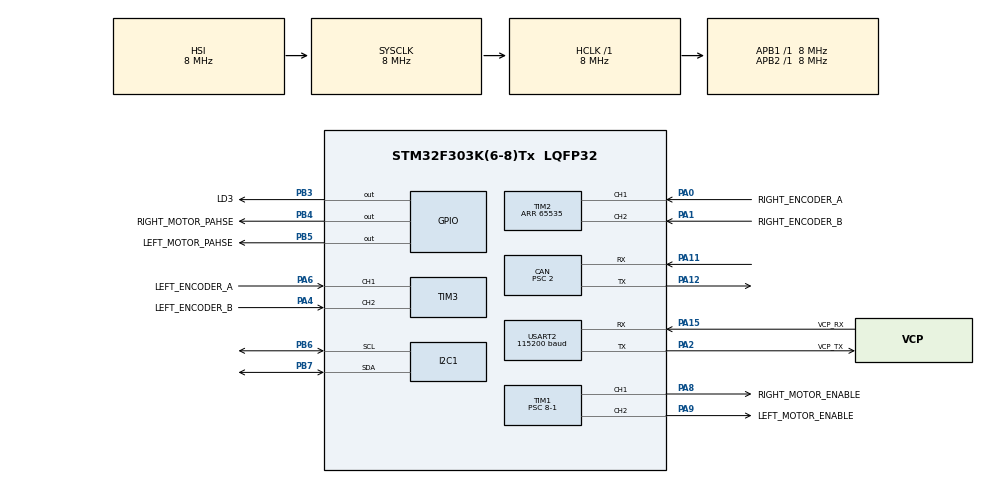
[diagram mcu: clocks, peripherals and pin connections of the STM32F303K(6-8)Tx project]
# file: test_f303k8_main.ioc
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Mcu.Family=STM32F3
RCC.CortexFreq_Value=8000000
PF0\ /\ OSC_IN.Mode=HSE-External-Clock-Source
PA14.GPIO_Label=SWCLK
PA0.GPIO_Label=RIGHT_ENCODER_A
TIM3.EncoderMode=TIM_ENCODERMODE_TI12
PA11.Mode=CAN_Activate
PA6.GPIO_Label=LEFT_ENCODER_A
TIM2.EncoderMode=TIM_ENCODERMODE_TI12
ProjectManager.StackSize=0x400
PA15.GPIO_Label=VCP_RX
PA12.Signal=CAN_TX
CAN.Prescaler=2
TIM1.Prescaler=8-1
TIM15.Prescaler=8-1
PB6.Signal=I2C1_SCL
PB6.Mode=I2C
RCC.AHBFreq_Value=8000000
RCC.HSE_VALUE=8000000
USART2.VirtualMode-Asynchronous=VM_ASYNC
PA15.Mode=Asynchronous
TIM15.Period=1000-1
TIM1.Channel-PWM\ Generation1\ CH1=TIM_CHANNEL_1
PA14.Mode=Serial_Wire
PF0\ /\ OSC_IN.GPIO_Label=MCO
PB7.Signal=I2C1_SDA
PA8.Signal=S_TIM1_CH1
SH.S_TIM3_CH1.0=TIM3_CH1,Encoder_Interface
CAN.CalculateTimeQuantum=250.0
PA0.Signal=S_TIM2_CH1_ETR
Mcu.Package=LQFP32
PA6.Signal=S_TIM3_CH1
PA2.GPIO_Label=VCP_TX
PA15.Signal=USART2_RX
PB5.GPIO_Label=LEFT_MOTOR_PAHSE
TIM1.Period=1000-1
PA4.GPIO_Label=LEFT_ENCODER_B
PB4.Signal=GPIO_Output
PB3.GPIO_Label=LD3
CAN.CalculateBaudRate=400000
PA9.GPIO_Label=LEFT_MOTOR_ENABLE
NVIC.USART2_IRQn=true\:0\:0\:false\:false\:true\:true\:true
USART2.BaudRate=115200
CAN.CalculateTimeBit=2500.00
PA13.Signal=SYS_JTMS-SWDIO
SH.S_TIM2_CH2.0=TIM2_CH2,Encoder_Interface
CAN.BS2=CAN_BS2_2TQ
PA8.GPIO_Label=RIGHT_MOTOR_ENABLE
CAN.BS1=CAN_BS1_7TQ
SH.S_TIM1_CH1.0=TIM1_CH1,PWM Generation1 CH1
ProjectManager.TargetToolchain=STM32CubeIDE
PA9.Signal=S_TIM1_CH2
TIM1.Channel-PWM\ Generation2\ CH2=TIM_CHANNEL_2
PA1.Signal=S_TIM2_CH2
SH.S_TIM3_CH2.0=TIM3_CH2,Encoder_Interface
NVIC.TIM1_BRK_TIM15_IRQn=true\:0\:0\:false\:false\:true\:true\:true
board=NUCLEO-F303K8
RCC.APB2Freq_Value=8000000
PF0\ /\ OSC_IN.Signal=RCC_OSC_IN
PB4.GPIO_Label=RIGHT_MOTOR_PAHSE
SH.S_TIM1_CH2.0=TIM1_CH2,PWM Generation2 CH2
PA1.GPIO_Label=RIGHT_ENCODER_B
TIM2.Period=65535
PA13.Mode=Serial_Wire
Mcu.Name=STM32F303K(6-8)Tx
PA13.GPIO_Label=SWDIO
PA2.Signal=USART2_TX
PB3.Signal=GPIO_Output
PA4.Signal=S_TIM3_CH2
RCC.SYSCLKFreq_VALUE=8000000
PB5.Signal=GPIO_Output
PA12.Mode=CAN_Activate
PB7.Mode=I2C
PA11.Signal=CAN_RX
SH.S_TIM2_CH1_ETR.0=TIM2_CH1,Encoder_Interface
VP_TIM15_VS_ClockSourceINT.Mode=Internal
PA14.Signal=SYS_JTCK-SWCLK
ProjectManager.HeapSize=0x200
RCC.HSI_VALUE=8000000
NVIC.PriorityGroup=NVIC_PRIORITYGROUP_4
PA2.Mode=Asynchronous
RCC.APB1Freq_Value=8000000

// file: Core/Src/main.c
/* USER CODE BEGIN Header */
/**
  ******************************************************************************
  * @file           : main.c
  * @brief          : Main program body
  ******************************************************************************
  * @attention
  *
  * <h2><center>&copy; Copyright (c) 2024 STMicroelectronics.
  * All rights reserved.</center></h2>
  *
  * This software component is licensed by ST under BSD 3-Clause license,
  * the "License"; You may not use this file except in compliance with the
  * License. You may obtain a copy of the License at:
  *                        opensource.org/licenses/BSD-3-Clause
  *
  ******************************************************************************
  */
/* USER CODE END Header */
#include "main.h"

/* USER CODE BEGIN Includes */
#include <stdio.h>
#include <stdlib.h>
#include <string.h>
/* USER CODE END Includes */

CAN_HandleTypeDef hcan;

I2C_HandleTypeDef hi2c1;

TIM_HandleTypeDef htim1;
TIM_HandleTypeDef htim2;
TIM_HandleTypeDef htim3;
TIM_HandleTypeDef htim15;

UART_HandleTypeDef huart2;

/* USER CODE BEGIN PV */
uint16_t motor_count = 0;
uint16_t encoder_count = 0;
uint8_t receive_buffer[8];
float cmd_vel[6]; // right_front, left_front, right_back, left_back, yaw, pitch
uint8_t can_count = 0;

/* USER CODE END PV */

void SystemClock_Config(void);
static void MX_GPIO_Init(void);
static void MX_USART2_UART_Init(void);
static void MX_TIM15_Init(void);
static void MX_CAN_Init(void);
static void MX_TIM1_Init(void);
static void MX_TIM2_Init(void);
static void MX_TIM3_Init(void);
static void MX_I2C1_Init(void);

/* USER CODE BEGIN 0 */
int16_t read_tim2_encoder_value()
{
  uint16_t enc_buff = TIM2->CNT;
  int16_t enc_count = (int16_t)enc_buff - 32767;
  TIM2->CNT = 32767;
  return enc_count;
}

int16_t read_tim3_encoder_value()
{
  uint16_t enc_buff = TIM3->CNT;
  int16_t enc_count = (int16_t)enc_buff - 32767;
  TIM3->CNT = 32767;
  return enc_count;
}

void HAL_TIM_PeriodElapsedCallback(TIM_HandleTypeDef *htim)
{
  if (htim == &htim15)
  {
    // ---encoder
    encoder_count++;
    if (encoder_count > 200) // 5Hz
    {
      encoder_count = 0;
      int16_t encoder_value;
      encoder_value = read_tim2_encoder_value();
      // printf("enc_buff: %d\r\n", encoder_value);
      printf("right_front_vel(deg/s): %f\r\n", (float)encoder_value * 1.20321); // 1:34
      encoder_value = read_tim3_encoder_value();
      // printf("enc_buff: %d\r\n", encoder_value);
      printf("left_front_vel(deg/s): %f\r\n", (float)encoder_value * 1.20321); // 1:34
    }

    // ---motor
    motor_count++;
    if (motor_count > 50) // 20Hz
    {
      motor_count = 0;
      // right_front
      uint16_t right_output;
      if (cmd_vel[0] > 0)
      {
        right_output = (uint16_t)(30.0 * cmd_vel[0]);
        HAL_GPIO_WritePin(RIGHT_MOTOR_PAHSE_GPIO_Port, RIGHT_MOTOR_PAHSE_Pin, GPIO_PIN_SET);
      }
      else
      {
        right_output = (uint16_t)(-30.0 * cmd_vel[0]);
        HAL_GPIO_WritePin(RIGHT_MOTOR_PAHSE_GPIO_Port, RIGHT_MOTOR_PAHSE_Pin, GPIO_PIN_RESET);
      }
      __HAL_TIM_SET_COMPARE(&htim1, TIM_CHANNEL_1, right_output);
      HAL_TIM_PWM_Start(&htim1, TIM_CHANNEL_1);
      printf("right_output: %d\r\n", right_output);

      // left_front
      uint16_t left_output;
      if (cmd_vel[1] > 0)
      {
        left_output = (uint16_t)(30.0 * cmd_vel[1]);
        HAL_GPIO_WritePin(LEFT_MOTOR_PAHSE_GPIO_Port, LEFT_MOTOR_PAHSE_Pin, GPIO_PIN_SET);
      }
      else
      {
        left_output = (uint16_t)(-30.0 * cmd_vel[1]);
        HAL_GPIO_WritePin(LEFT_MOTOR_PAHSE_GPIO_Port, LEFT_MOTOR_PAHSE_Pin, GPIO_PIN_RESET);
      }
      __HAL_TIM_SET_COMPARE(&htim1, TIM_CHANNEL_2, left_output);
      HAL_TIM_PWM_Start(&htim1, TIM_CHANNEL_2);
      printf("left_output: %d\r\n", left_output);
    }

    // ---can transmit
    can_count++;
    if (can_count > 25) // 40Hz
    {
      CAN_TxHeaderTypeDef TxHeader;
      uint32_t TxMailbox;
      uint8_t TxData[8];
      union {
          float f;
          int32_t ui;
      } data;
      // right_back & left_back
      if (0 < HAL_CAN_GetTxMailboxesFreeLevel(&hcan))
      {
        TxHeader.StdId = 0x711;
        TxHeader.RTR = CAN_RTR_DATA;
        TxHeader.IDE = CAN_ID_STD;
        TxHeader.DLC = 8;
        TxHeader.TransmitGlobalTime = DISABLE;
        data.f = cmd_vel[2];
        TxData[0] = (uint8_t) ((data.ui & 0xFF000000) >> 24);
        TxData[1] = (uint8_t) ((data.ui & 0x00FF0000) >> 16);
        TxData[2] = (uint8_t) ((data.ui & 0x0000FF00) >>  8);
        TxData[3] = (uint8_t) ((data.ui & 0x000000FF) >>  0);
        data.f = cmd_vel[3];
        TxData[4] = (uint8_t) ((data.ui & 0xFF000000) >> 24);
        TxData[5] = (uint8_t) ((data.ui & 0x00FF0000) >> 16);
        TxData[6] = (uint8_t) ((data.ui & 0x0000FF00) >>  8);
        TxData[7] = (uint8_t) ((data.ui & 0x000000FF) >>  0);
        if (HAL_CAN_AddTxMessage(&hcan, &TxHeader, TxData, &TxMailbox) != HAL_OK)
        {
          Error_Handler();
        }
      }
      // yaw & pitch
      if (0 < HAL_CAN_GetTxMailboxesFreeLevel(&hcan))
      {
        TxHeader.StdId = 0x712;
        TxHeader.RTR = CAN_RTR_DATA;
        TxHeader.IDE = CAN_ID_STD;
        TxHeader.DLC = 8;
        TxHeader.TransmitGlobalTime = DISABLE;
        data.f = cmd_vel[4];
        TxData[0] = (uint8_t) ((data.ui & 0xFF000000) >> 24);
        TxData[1] = (uint8_t) ((data.ui & 0x00FF0000) >> 16);
        TxData[2] = (uint8_t) ((data.ui & 0x0000FF00) >>  8);
        TxData[3] = (uint8_t) ((data.ui & 0x000000FF) >>  0);
        data.f = cmd_vel[5];
        TxData[4] = (uint8_t) ((data.ui & 0xFF000000) >> 24);
        TxData[5] = (uint8_t) ((data.ui & 0x00FF0000) >> 16);
        TxData[6] = (uint8_t) ((data.ui & 0x0000FF00) >>  8);
        TxData[7] = (uint8_t) ((data.ui & 0x000000FF) >>  0);
        if (HAL_CAN_AddTxMessage(&hcan, &TxHeader, TxData, &TxMailbox) != HAL_OK)
        {
          Error_Handler();
        }
      }
      can_count = 0;
    }
  }
}

void HAL_UART_RxCpltCallback(UART_HandleTypeDef *huart)
{
  if (receive_buffer[0] == 0xFF && receive_buffer[6] == 0xFF)
  {
    int idx = (int)receive_buffer[1];
    union {
        float f;
        int32_t ui;
    } data;
    data.ui = (int32_t) (
          (((int32_t)receive_buffer[2] << 24) & 0xFF000000)
        | (((int32_t)receive_buffer[3] << 16) & 0x00FF0000)
        | (((int32_t)receive_buffer[4] <<  8) & 0x0000FF00)
        | (((int32_t)receive_buffer[5] <<  0) & 0x000000FF)
    );
    cmd_vel[idx] = data.f;
  }

  HAL_UART_Receive_IT(&huart2, receive_buffer, 8);
  HAL_GPIO_WritePin(LD3_GPIO_Port, LD3_Pin, GPIO_PIN_SET);
}

/* USER CODE END 0 */

int main(void)
{
  /* USER CODE BEGIN 1 */
  setbuf(stdout, NULL);
  /* USER CODE END 1 */

  /* MCU Configuration--------------------------------------------------------*/

  /* Reset of all peripherals, Initializes the Flash interface and the Systick. */
  HAL_Init();

  /* Configure the system clock */
  SystemClock_Config();

  /* Initialize all configured peripherals */
  MX_GPIO_Init();
  MX_USART2_UART_Init();
  MX_TIM15_Init();
  MX_CAN_Init();
  MX_TIM1_Init();
  MX_TIM2_Init();
  MX_TIM3_Init();
  MX_I2C1_Init();
  /* USER CODE BEGIN 2 */
  HAL_TIM_Base_Start_IT(&htim15);
  HAL_UART_Receive_IT(&huart2, receive_buffer, 8);
  HAL_TIM_Encoder_Start(&htim2, TIM_CHANNEL_ALL);
  HAL_TIM_Encoder_Start(&htim3, TIM_CHANNEL_ALL);
  HAL_CAN_Start(&hcan);

  /* USER CODE END 2 */

  /* Infinite loop */
  while (1)
  {

    /* USER CODE BEGIN 3 */
    // HAL_GPIO_WritePin(LD3_GPIO_Port, LD3_Pin, GPIO_PIN_SET);
    // HAL_Delay(1000);
    // HAL_GPIO_WritePin(LD3_GPIO_Port, LD3_Pin, GPIO_PIN_RESET);
    // HAL_Delay(1000);
    HAL_GPIO_TogglePin(LD3_GPIO_Port, LD3_Pin);

    // serial read
    HAL_UART_Receive_IT(&huart2, receive_buffer, 8);
    HAL_Delay(50);
  }
  /* USER CODE END 3 */
}

void SystemClock_Config(void)
{
  RCC_OscInitTypeDef RCC_OscInitStruct = {0};
  RCC_ClkInitTypeDef RCC_ClkInitStruct = {0};
  RCC_PeriphCLKInitTypeDef PeriphClkInit = {0};

  /** Initializes the RCC Oscillators according to the specified parameters
  * in the RCC_OscInitTypeDef structure.
  */
  RCC_OscInitStruct.OscillatorType = RCC_OSCILLATORTYPE_HSI;
  RCC_OscInitStruct.HSIState = RCC_HSI_ON;
  RCC_OscInitStruct.HSICalibrationValue = RCC_HSICALIBRATION_DEFAULT;
  RCC_OscInitStruct.PLL.PLLState = RCC_PLL_NONE;
  if (HAL_RCC_OscConfig(&RCC_OscInitStruct) != HAL_OK)
  {
    Error_Handler();
  }
  /** Initializes the CPU, AHB and APB buses clocks
  */
  RCC_ClkInitStruct.ClockType = RCC_CLOCKTYPE_HCLK|RCC_CLOCKTYPE_SYSCLK
                              |RCC_CLOCKTYPE_PCLK1|RCC_CLOCKTYPE_PCLK2;
  RCC_ClkInitStruct.SYSCLKSource = RCC_SYSCLKSOURCE_HSI;
  RCC_ClkInitStruct.AHBCLKDivider = RCC_SYSCLK_DIV1;
  RCC_ClkInitStruct.APB1CLKDivider = RCC_HCLK_DIV1;
  RCC_ClkInitStruct.APB2CLKDivider = RCC_HCLK_DIV1;

  if (HAL_RCC_ClockConfig(&RCC_ClkInitStruct, FLASH_LATENCY_0) != HAL_OK)
  {
    Error_Handler();
  }
  PeriphClkInit.PeriphClockSelection = RCC_PERIPHCLK_I2C1|RCC_PERIPHCLK_TIM1;
  PeriphClkInit.I2c1ClockSelection = RCC_I2C1CLKSOURCE_HSI;
  PeriphClkInit.Tim1ClockSelection = RCC_TIM1CLK_HCLK;
  if (HAL_RCCEx_PeriphCLKConfig(&PeriphClkInit) != HAL_OK)
  {
    Error_Handler();
  }
}

static void MX_CAN_Init(void)
{

  hcan.Instance = CAN;
  hcan.Init.Prescaler = 2;
  hcan.Init.Mode = CAN_MODE_NORMAL;
  hcan.Init.SyncJumpWidth = CAN_SJW_1TQ;
  hcan.Init.TimeSeg1 = CAN_BS1_7TQ;
  hcan.Init.TimeSeg2 = CAN_BS2_2TQ;
  hcan.Init.TimeTriggeredMode = DISABLE;
  hcan.Init.AutoBusOff = DISABLE;
  hcan.Init.AutoWakeUp = DISABLE;
  hcan.Init.AutoRetransmission = DISABLE;
  hcan.Init.ReceiveFifoLocked = DISABLE;
  hcan.Init.TransmitFifoPriority = DISABLE;
  if (HAL_CAN_Init(&hcan) != HAL_OK)
  {
    Error_Handler();
  }

}

static void MX_I2C1_Init(void)
{

  hi2c1.Instance = I2C1;
  hi2c1.Init.Timing = 0x2000090E;
  hi2c1.Init.OwnAddress1 = 0;
  hi2c1.Init.AddressingMode = I2C_ADDRESSINGMODE_7BIT;
  hi2c1.Init.DualAddressMode = I2C_DUALADDRESS_DISABLE;
  hi2c1.Init.OwnAddress2 = 0;
  hi2c1.Init.OwnAddress2Masks = I2C_OA2_NOMASK;
  hi2c1.Init.GeneralCallMode = I2C_GENERALCALL_DISABLE;
  hi2c1.Init.NoStretchMode = I2C_NOSTRETCH_DISABLE;
  if (HAL_I2C_Init(&hi2c1) != HAL_OK)
  {
    Error_Handler();
  }
  /** Configure Analogue filter
  */
  if (HAL_I2CEx_ConfigAnalogFilter(&hi2c1, I2C_ANALOGFILTER_ENABLE) != HAL_OK)
  {
    Error_Handler();
  }
  /** Configure Digital filter
  */
  if (HAL_I2CEx_ConfigDigitalFilter(&hi2c1, 0) != HAL_OK)
  {
    Error_Handler();
  }

}

static void MX_TIM1_Init(void)
{

  TIM_MasterConfigTypeDef sMasterConfig = {0};
  TIM_OC_InitTypeDef sConfigOC = {0};
  TIM_BreakDeadTimeConfigTypeDef sBreakDeadTimeConfig = {0};

  htim1.Instance = TIM1;
  htim1.Init.Prescaler = 8-1;
  htim1.Init.CounterMode = TIM_COUNTERMODE_UP;
  htim1.Init.Period = 1000-1;
  htim1.Init.ClockDivision = TIM_CLOCKDIVISION_DIV1;
  htim1.Init.RepetitionCounter = 0;
  htim1.Init.AutoReloadPreload = TIM_AUTORELOAD_PRELOAD_DISABLE;
  if (HAL_TIM_PWM_Init(&htim1) != HAL_OK)
  {
    Error_Handler();
  }
  sMasterConfig.MasterOutputTrigger = TIM_TRGO_RESET;
  sMasterConfig.MasterOutputTrigger2 = TIM_TRGO2_RESET;
  sMasterConfig.MasterSlaveMode = TIM_MASTERSLAVEMODE_DISABLE;
  if (HAL_TIMEx_MasterConfigSynchronization(&htim1, &sMasterConfig) != HAL_OK)
  {
    Error_Handler();
  }
  sConfigOC.OCMode = TIM_OCMODE_PWM1;
  sConfigOC.Pulse = 0;
  sConfigOC.OCPolarity = TIM_OCPOLARITY_HIGH;
  sConfigOC.OCNPolarity = TIM_OCNPOLARITY_HIGH;
  sConfigOC.OCFastMode = TIM_OCFAST_DISABLE;
  sConfigOC.OCIdleState = TIM_OCIDLESTATE_RESET;
  sConfigOC.OCNIdleState = TIM_OCNIDLESTATE_RESET;
  if (HAL_TIM_PWM_ConfigChannel(&htim1, &sConfigOC, TIM_CHANNEL_1) != HAL_OK)
  {
    Error_Handler();
  }
  if (HAL_TIM_PWM_ConfigChannel(&htim1, &sConfigOC, TIM_CHANNEL_2) != HAL_OK)
  {
    Error_Handler();
  }
  sBreakDeadTimeConfig.OffStateRunMode = TIM_OSSR_DISABLE;
  sBreakDeadTimeConfig.OffStateIDLEMode = TIM_OSSI_DISABLE;
  sBreakDeadTimeConfig.LockLevel = TIM_LOCKLEVEL_OFF;
  sBreakDeadTimeConfig.DeadTime = 0;
  sBreakDeadTimeConfig.BreakState = TIM_BREAK_DISABLE;
  sBreakDeadTimeConfig.BreakPolarity = TIM_BREAKPOLARITY_HIGH;
  sBreakDeadTimeConfig.BreakFilter = 0;
  sBreakDeadTimeConfig.Break2State = TIM_BREAK2_DISABLE;
  sBreakDeadTimeConfig.Break2Polarity = TIM_BREAK2POLARITY_HIGH;
  sBreakDeadTimeConfig.Break2Filter = 0;
  sBreakDeadTimeConfig.AutomaticOutput = TIM_AUTOMATICOUTPUT_DISABLE;
  if (HAL_TIMEx_ConfigBreakDeadTime(&htim1, &sBreakDeadTimeConfig) != HAL_OK)
  {
    Error_Handler();
  }
  HAL_TIM_MspPostInit(&htim1);

}

static void MX_TIM2_Init(void)
{

  TIM_Encoder_InitTypeDef sConfig = {0};
  TIM_MasterConfigTypeDef sMasterConfig = {0};

  htim2.Instance = TIM2;
  htim2.Init.Prescaler = 0;
  htim2.Init.CounterMode = TIM_COUNTERMODE_UP;
  htim2.Init.Period = 65535;
  htim2.Init.ClockDivision = TIM_CLOCKDIVISION_DIV1;
  htim2.Init.AutoReloadPreload = TIM_AUTORELOAD_PRELOAD_DISABLE;
  sConfig.EncoderMode = TIM_ENCODERMODE_TI12;
  sConfig.IC1Polarity = TIM_ICPOLARITY_RISING;
  sConfig.IC1Selection = TIM_ICSELECTION_DIRECTTI;
  sConfig.IC1Prescaler = TIM_ICPSC_DIV1;
  sConfig.IC1Filter = 0;
  sConfig.IC2Polarity = TIM_ICPOLARITY_RISING;
  sConfig.IC2Selection = TIM_ICSELECTION_DIRECTTI;
  sConfig.IC2Prescaler = TIM_ICPSC_DIV1;
  sConfig.IC2Filter = 0;
  if (HAL_TIM_Encoder_Init(&htim2, &sConfig) != HAL_OK)
  {
    Error_Handler();
  }
  sMasterConfig.MasterOutputTrigger = TIM_TRGO_RESET;
  sMasterConfig.MasterSlaveMode = TIM_MASTERSLAVEMODE_DISABLE;
  if (HAL_TIMEx_MasterConfigSynchronization(&htim2, &sMasterConfig) != HAL_OK)
  {
    Error_Handler();
  }

}

static void MX_TIM3_Init(void)
{

  TIM_Encoder_InitTypeDef sConfig = {0};
  TIM_MasterConfigTypeDef sMasterConfig = {0};

  htim3.Instance = TIM3;
  htim3.Init.Prescaler = 0;
  htim3.Init.CounterMode = TIM_COUNTERMODE_UP;
  htim3.Init.Period = 65535;
  htim3.Init.ClockDivision = TIM_CLOCKDIVISION_DIV1;
  htim3.Init.AutoReloadPreload = TIM_AUTORELOAD_PRELOAD_DISABLE;
  sConfig.EncoderMode = TIM_ENCODERMODE_TI12;
  sConfig.IC1Polarity = TIM_ICPOLARITY_RISING;
  sConfig.IC1Selection = TIM_ICSELECTION_DIRECTTI;
  sConfig.IC1Prescaler = TIM_ICPSC_DIV1;
  sConfig.IC1Filter = 0;
  sConfig.IC2Polarity = TIM_ICPOLARITY_RISING;
  sConfig.IC2Selection = TIM_ICSELECTION_DIRECTTI;
  sConfig.IC2Prescaler = TIM_ICPSC_DIV1;
  sConfig.IC2Filter = 0;
  if (HAL_TIM_Encoder_Init(&htim3, &sConfig) != HAL_OK)
  {
    Error_Handler();
  }
  sMasterConfig.MasterOutputTrigger = TIM_TRGO_RESET;
  sMasterConfig.MasterSlaveMode = TIM_MASTERSLAVEMODE_DISABLE;
  if (HAL_TIMEx_MasterConfigSynchronization(&htim3, &sMasterConfig) != HAL_OK)
  {
    Error_Handler();
  }

}

static void MX_TIM15_Init(void)
{

  TIM_ClockConfigTypeDef sClockSourceConfig = {0};
  TIM_MasterConfigTypeDef sMasterConfig = {0};

  htim15.Instance = TIM15;
  htim15.Init.Prescaler = 8-1;
  htim15.Init.CounterMode = TIM_COUNTERMODE_UP;
  htim15.Init.Period = 1000-1;
  htim15.Init.ClockDivision = TIM_CLOCKDIVISION_DIV1;
  htim15.Init.RepetitionCounter = 0;
  htim15.Init.AutoReloadPreload = TIM_AUTORELOAD_PRELOAD_DISABLE;
  if (HAL_TIM_Base_Init(&htim15) != HAL_OK)
  {
    Error_Handler();
  }
  sClockSourceConfig.ClockSource = TIM_CLOCKSOURCE_INTERNAL;
  if (HAL_TIM_ConfigClockSource(&htim15, &sClockSourceConfig) != HAL_OK)
  {
    Error_Handler();
  }
  sMasterConfig.MasterOutputTrigger = TIM_TRGO_RESET;
  sMasterConfig.MasterSlaveMode = TIM_MASTERSLAVEMODE_DISABLE;
  if (HAL_TIMEx_MasterConfigSynchronization(&htim15, &sMasterConfig) != HAL_OK)
  {
    Error_Handler();
  }

}

static void MX_USART2_UART_Init(void)
{

  huart2.Instance = USART2;
  huart2.Init.BaudRate = 115200;
  huart2.Init.WordLength = UART_WORDLENGTH_8B;
  huart2.Init.StopBits = UART_STOPBITS_1;
  huart2.Init.Parity = UART_PARITY_NONE;
  huart2.Init.Mode = UART_MODE_TX_RX;
  huart2.Init.HwFlowCtl = UART_HWCONTROL_NONE;
  huart2.Init.OverSampling = UART_OVERSAMPLING_16;
  huart2.Init.OneBitSampling = UART_ONE_BIT_SAMPLE_DISABLE;
  huart2.AdvancedInit.AdvFeatureInit = UART_ADVFEATURE_NO_INIT;
  if (HAL_UART_Init(&huart2) != HAL_OK)
  {
    Error_Handler();
  }

}

static void MX_GPIO_Init(void)
{
  GPIO_InitTypeDef GPIO_InitStruct = {0};

  /* GPIO Ports Clock Enable */
  __HAL_RCC_GPIOF_CLK_ENABLE();
  __HAL_RCC_GPIOA_CLK_ENABLE();
  __HAL_RCC_GPIOB_CLK_ENABLE();

  /*Configure GPIO pin Output Level */
  HAL_GPIO_WritePin(GPIOB, LD3_Pin|RIGHT_MOTOR_PAHSE_Pin|LEFT_MOTOR_PAHSE_Pin, GPIO_PIN_RESET);

  /*Configure GPIO pins : LD3_Pin RIGHT_MOTOR_PAHSE_Pin LEFT_MOTOR_PAHSE_Pin */
  GPIO_InitStruct.Pin = LD3_Pin|RIGHT_MOTOR_PAHSE_Pin|LEFT_MOTOR_PAHSE_Pin;
  GPIO_InitStruct.Mode = GPIO_MODE_OUTPUT_PP;
  GPIO_InitStruct.Pull = GPIO_NOPULL;
  GPIO_InitStruct.Speed = GPIO_SPEED_FREQ_LOW;
  HAL_GPIO_Init(GPIOB, &GPIO_InitStruct);

}

/* USER CODE BEGIN 4 */
int _write(int file, char *ptr, int len)
{
  HAL_UART_Transmit(&huart2, (uint8_t *)ptr, len, 10);
  return len;
}
/* USER CODE END 4 */

void Error_Handler(void)
{
  __disable_irq();
  while (1)
  {
  }
}

/************************ (C) COPYRIGHT STMicroelectronics *****END OF FILE****/
